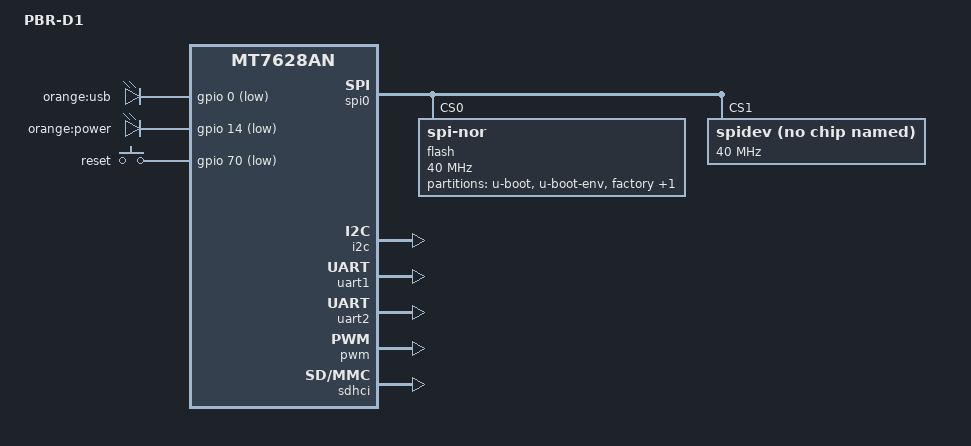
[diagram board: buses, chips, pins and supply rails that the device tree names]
#include "mt7628an.dtsi"

#include <dt-bindings/gpio/gpio.h>
#include <dt-bindings/input/input.h>

/ {
	compatible = "d-team,pbr-d1", "mediatek,mt7628an-soc";
	model = "PBR-D1";

	aliases {
		led-boot = &led_power;
		led-failsafe = &led_power;
		led-running = &led_power;
		led-upgrade = &led_power;
	};

	chosen {
		bootargs = "console=ttyS0,115200";
	};

	aliases {
		serial0 = &uart2;
	};

	leds {
		compatible = "gpio-leds";

		usb {
			label = "orange:usb";
			gpios = <&gpio 0 GPIO_ACTIVE_LOW>;
			trigger-sources = <&ohci_port1>, <&ehci_port1>;
			linux,default-trigger = "usbport";
		};

		led_power: power {
			label = "orange:power";
			gpios = <&gpio 14 GPIO_ACTIVE_LOW>;
			default-state = "on";
		};
	};

	keys {
		compatible = "gpio-keys";

		reset {
			label = "reset";
			gpios = <&gpio 70 GPIO_ACTIVE_LOW>;
			linux,code = <KEY_RESTART>;
		};
	};

	wgpio: gpio-wifi {
		compatible = "mediatek,gpio-wifi";
		#address-cells = <1>;
		#size-cells = <0>;
		gpio-controller;
		#gpio-cells = <2>;
	};
};

&state_default {
	gpio {
		groups = "gpio";
		function = "gpio";
	};

	i2c {
		groups = "i2c";
		function = "gpio";
	};

	i2s {
		groups = "i2s";
		function = "gpio";
	};

	spis {
		groups = "spis";
		function = "gpio";
	};

	wdt {
		groups = "wdt";
		function = "gpio";
	};
};

&spi0 {
	status = "okay";

	pinctrl-names = "default";
	pinctrl-0 = <&spi_pins>, <&spi_cs1_pins>;

	flash@0 {
		compatible = "jedec,spi-nor";
		reg = <0>;
		spi-max-frequency = <40000000>;

		partitions {
			compatible = "fixed-partitions";
			#address-cells = <1>;
			#size-cells = <1>;

			partition@0 {
				label = "u-boot";
				reg = <0x0 0x30000>;
				read-only;
			};

			partition@30000 {
				label = "u-boot-env";
				reg = <0x30000 0x10000>;
			};

			factory: partition@40000 {
				label = "factory";
				reg = <0x40000 0x10000>;
				read-only;
			};

			partition@50000 {
				compatible = "denx,uimage";
				label = "firmware";
				reg = <0x50000 0x0fb0000>;
			};
		};
	};

	spidev@1 {
		#address-cells = <1>;
		#size-cells = <1>;
		compatible = "linux,spidev";
		reg = <1>;
		spi-max-frequency = <40000000>;
	};
};

&i2c {
	status = "okay";
};

&uart1 {
	status = "okay";
};

&uart2 {
	status = "okay";
};

&pwm {
	status = "okay";
};

&ethernet {
	nvmem-cells = <&macaddr_factory_28>;
	nvmem-cell-names = "mac-address";
};

&sdhci {
	status = "okay";
	mediatek,cd-high;
};

&factory {
	compatible = "nvmem-cells";
	#address-cells = <1>;
	#size-cells = <1>;

	macaddr_factory_28: macaddr@28 {
		reg = <0x28 0x6>;
	};
};
